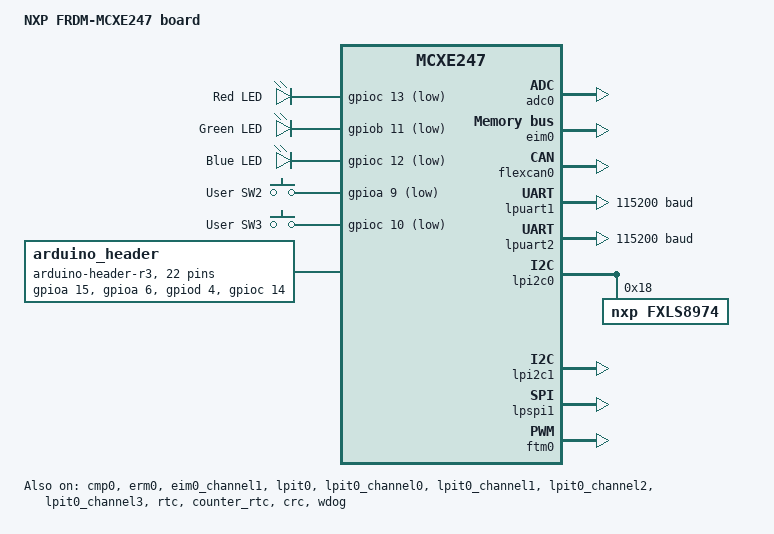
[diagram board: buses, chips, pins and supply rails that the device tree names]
/*
 * Copyright 2025 NXP
 *
 * SPDX-License-Identifier: Apache-2.0
 */

/dts-v1/;

#include <nxp/nxp_mcxe247.dtsi>
#include "frdm_mcxe247-pinctrl.dtsi"
#include <zephyr/dt-bindings/gpio/arduino-header-r3.h>
#include <zephyr/dt-bindings/input/input-event-codes.h>

/ {
	model = "NXP FRDM-MCXE247 board";
	compatible = "nxp,mcxe247", "nxp,mcx";

	aliases {
		led0 = &red_led;
		led1 = &green_led;
		led2 = &blue_led;
		sw0 = &user_button_2;
		sw1 = &user_button_3;
		rtc = &counter_rtc;
		accel0 = &fxls8974;
	};

	chosen {
		zephyr,sram = &sram_l;
		zephyr,flash = &flash0;
		zephyr,console = &lpuart2;
		zephyr,shell-uart = &lpuart2;
		zephyr,canbus = &flexcan0;
		zephyr,edac = &erm0;
		zephyr,crc = &crc;
	};

	leds {
		compatible = "gpio-leds";

		red_led: led_0 {
			gpios = <&gpioc 13 GPIO_ACTIVE_LOW>;
			label = "Red LED";
		};

		green_led: led_1 {
			gpios = <&gpiob 11 GPIO_ACTIVE_LOW>;
			label = "Green LED";
		};

		blue_led: led_2 {
			gpios = <&gpioc 12 GPIO_ACTIVE_LOW>;
			label = "Blue LED";
		};
	};

	gpio_keys {
		compatible = "gpio-keys";

		user_button_2: button_2 {
			label = "User SW2";
			gpios = <&gpioa 9 GPIO_ACTIVE_LOW>;
			zephyr,code = <INPUT_KEY_0>;
		};

		user_button_3: button_3 {
			label = "User SW3";
			gpios = <&gpioc 10 GPIO_ACTIVE_LOW>;
			zephyr,code = <INPUT_KEY_1>;
		};
	};

	arduino_header: connector {
		compatible = "arduino-header-r3";
		#gpio-cells = <2>;
		gpio-map-mask = <0xffffffff 0xffffffc0>;
		gpio-map-pass-thru = <0 0x3f>;
		gpio-map = <ARDUINO_HEADER_R3_A0 0 &gpioa 15 0>,
			   <ARDUINO_HEADER_R3_A1 0 &gpioa 6 0>,
			   <ARDUINO_HEADER_R3_A2 0 &gpiod 4 0>,
			   <ARDUINO_HEADER_R3_A3 0 &gpioc 14 0>,
			   <ARDUINO_HEADER_R3_A4 0 &gpioa 0 0>,
			   <ARDUINO_HEADER_R3_A5 0 &gpioa 1 0>,
			   <ARDUINO_HEADER_R3_D0 0 &gpiod 17 0>,
			   <ARDUINO_HEADER_R3_D1 0 &gpioe 12 0>,
			   <ARDUINO_HEADER_R3_D2 0 &gpiod 6 0>,
			   <ARDUINO_HEADER_R3_D3 0 &gpioe 9 0>,
			   <ARDUINO_HEADER_R3_D4 0 &gpiob 8 0>,
			   <ARDUINO_HEADER_R3_D5 0 &gpioc 11 0>,
			   <ARDUINO_HEADER_R3_D6 0 &gpiod 15 0>,
			   <ARDUINO_HEADER_R3_D7 0 &gpiob 9 0>,
			   <ARDUINO_HEADER_R3_D8 0 &gpiob 10 0>,
			   <ARDUINO_HEADER_R3_D9 0 &gpioe 15 0>,
			   <ARDUINO_HEADER_R3_D10 0 &gpioa 16 0>,
			   <ARDUINO_HEADER_R3_D11 0 &gpiod 2 0>,
			   <ARDUINO_HEADER_R3_D12 0 &gpiob 15 0>,
			   <ARDUINO_HEADER_R3_D13 0 &gpiob 14 0>,
			   <ARDUINO_HEADER_R3_D14 0 &gpiod 8 0>,
			   <ARDUINO_HEADER_R3_D15 0 &gpiod 9 0>;
	};
};

&adc0 {
	status = "okay";
	sample-time = <12>;
	vref-mv = <3300>;
	pinctrl-0 = <&pinmux_adc0>;
	pinctrl-names = "default";
};

&cmp0 {
	status = "okay";
	pinctrl-0 = <&pinmux_cmp0>;
	pinctrl-names = "default";
};

&cpu0 {
	clock-frequency = <80000000>;
};

&erm0 {
	status = "okay";
};

&eim0 {
	status = "okay";
};

&eim0_channel1 {
	status = "okay";
};

&sosc_clk {
	clock-frequency = <8000000>;
	status = "okay";
};

&spll_clk {
	status = "okay";
};

&core_clk {
	clocks = <&spll_clk>;
	clock-div = <2>;
};

&bus_clk {
	clock-div = <2>;
};

&slow_clk {
	clock-div = <4>;
};

&fircdiv1_clk {
	clock-div = <8>;
};

&fircdiv2_clk {
	clock-div = <1>;
};

&flexcan0 {
	pinctrl-0 = <&pinmux_flexcan0>;
	pinctrl-names = "default";
	status = "okay";
};

&soscdiv2_clk {
	clock-div = <1>;
};

&sircdiv2_clk {
	clock-div = <1>;
};

&gpioa {
	status = "okay";
};

&gpiob {
	status = "okay";
};

&gpioc {
	status = "okay";
};

&gpiod {
	status = "okay";
};

&gpioe {
	status = "okay";
};

&lpuart1 {
	status = "okay";
	current-speed = <115200>;
	pinctrl-0 = <&pinmux_lpuart1>;
	pinctrl-names = "default";
};

&lpuart2 {
	status = "okay";
	current-speed = <115200>;
	pinctrl-0 = <&pinmux_lpuart2>;
	pinctrl-names = "default";
};

&lpit0 {
	status = "okay";
};

&lpit0_channel0 {
	status = "okay";
};

&lpit0_channel1 {
	status = "okay";
};

&lpit0_channel2 {
	status = "okay";
};

&lpit0_channel3 {
	status = "okay";
};

&lpi2c0 {
	pinctrl-0 = <&pinmux_lpi2c0>;
	pinctrl-names = "default";
	status = "okay";

	fxls8974: fxls8974@18 {
		compatible = "nxp,fxls8974";
		reg = <0x18>;
		status = "okay";
	};
};

&lpi2c1 {
	pinctrl-0 = <&pinmux_lpi2c1>;
	pinctrl-names = "default";
	status = "okay";
};

&lpspi1 {
	status = "okay";
	pinctrl-0 = <&pinmux_lpspi1>;
	pinctrl-names = "default";
};

&edma {
	status = "okay";
};

&rtc {
	status = "okay";
};

&counter_rtc {
	status = "okay";
};

&crc {
	status = "okay";
};

&ftm0 {
	status = "okay";
};

&wdog {
	status = "okay";
};
